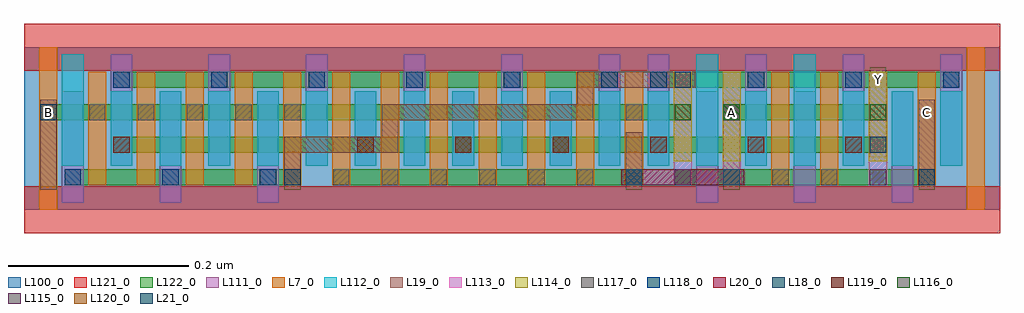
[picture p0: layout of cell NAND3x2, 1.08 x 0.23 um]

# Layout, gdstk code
import gdstk
lib = gdstk.Library(unit=1e-6, precision=2.5e-10)
def R(c, l, rs):  # rectangles x0, y0, x1, y1
    for r in rs: c.add(gdstk.rectangle(r[:2], r[2:], *l))
def A(c, l, x, y, w, h, nx, ny, dx, dy):  # array of equal rectangles
    R(c, l, [(x+i*dx, y+j*dy, x+i*dx+w, y+j*dy+h) for i in range(nx) for j in range(ny)])
def P(c, l, *ps):  # polygons
    for p in ps: c.add(gdstk.Polygon(p, *l))
L7_0 = (7, 0)
L18_0 = (18, 0)
L19_0 = (19, 0)
L20_0 = (20, 0)
L21_0 = (21, 0)
L100_0 = (100, 0)
L111_0 = (111, 0)
L112_0 = (112, 0)
L113_0 = (113, 0)
L114_0 = (114, 0)
L115_0 = (115, 0)
L116_0 = (116, 0)
L117_0 = (117, 0)
L118_0 = (118, 0)
L119_0 = (119, 0)
L120_0 = (120, 0)
L121_0 = (121, 0)
L122_0 = (122, 0)

nand3x2 = lib.new_cell('NAND3x2')
A(nand3x2, L7_0, 0.071, 0.027, 0.02, 0.126, 12, 1, 0.054, 0)
R(nand3x2, L7_0, [(0.017,0,0.037,0.18), (1.043,0,1.063,0.18), (0.827,0.027,0.847,0.153), (0.881,0.027,0.901,0.153), (0.989,0.027,1.009,0.153)])
R(nand3x2, L18_0, [(0.288,0.027,0.306,0.045), (0.666,0.027,0.684,0.045), (0.99,0.027,1.008,0.045), (0.936,0.063,0.954,0.081), (0.018,0.099,0.036,0.117), (0.774,0.099,0.792,0.117), (0.72,0.135,0.738,0.153)])
R(nand3x2, L19_0, [(0.018,0.022,0.036,0.122), (0.666,0.022,0.684,0.086), (0.774,0.022,0.792,0.122), (0.99,0.022,1.008,0.122), (0.936,0.058,0.954,0.158)])
P(nand3x2, L19_0, [(0.612,0.153),(0.743,0.153),(0.743,0.135),(0.63,0.135),(0.63,0.099),(0.414,0.099),(0.414,0.063),(0.306,0.063),(0.306,0.022),(0.288,0.022),(0.288,0.081),(0.396,0.081),(0.396,0.117),(0.612,0.117)])
R(nand3x2, L20_0, [(0.661,0.027,0.797,0.045)])
R(nand3x2, L21_0, [(0.666,0.027,0.684,0.045), (0.774,0.027,0.792,0.045)])
R(nand3x2, L100_0, [(0,0,1.08,0.18)])
A(nand3x2, L111_0, 0.042, 0.008, 0.024, 0.123, 3, 1, 0.108, 0)
A(nand3x2, L111_0, 0.744, 0.008, 0.024, 0.123, 3, 1, 0.108, 0)
A(nand3x2, L111_0, 0.096, 0.049, 0.024, 0.123, 6, 1, 0.108, 0)
A(nand3x2, L111_0, 0.366, 0.049, 0.024, 0.082, 3, 1, 0.108, 0)
A(nand3x2, L111_0, 0.69, 0.049, 0.024, 0.123, 4, 1, 0.108, 0)
A(nand3x2, L112_0, 0.096, 0.049, 0.024, 0.082, 12, 1, 0.054, 0)
A(nand3x2, L112_0, 0.906, 0.049, 0.024, 0.082, 3, 1, 0.054, 0)
R(nand3x2, L112_0, [(0.042,0.049,0.066,0.172), (0.744,0.049,0.768,0.172), (0.798,0.049,0.822,0.131), (0.852,0.049,0.876,0.172)])
R(nand3x2, L113_0, [(0.719,0.027,0.739,0.153), (0.773,0.027,0.793,0.153), (0.935,0.027,0.955,0.153)])
R(nand3x2, L114_0, [(0.719,0.054,0.739,0.153), (0.773,0.054,0.793,0.153), (0.935,0.054,0.955,0.153)])
R(nand3x2, L115_0, [(0.72,0.027,0.738,0.045), (0.774,0.027,0.792,0.045), (0.936,0.027,0.954,0.045)])
R(nand3x2, L116_0, [(0.72,0.099,0.738,0.117), (0.774,0.099,0.792,0.117), (0.936,0.099,0.954,0.117)])
A(nand3x2, L117_0, 0.342, 0.027, 0.018, 0.018, 6, 1, 0.054, 0)
A(nand3x2, L117_0, 0.072, 0.099, 0.018, 0.018, 5, 1, 0.054, 0)
R(nand3x2, L117_0, [(0.828,0.027,0.846,0.045), (0.882,0.027,0.9,0.045), (0.99,0.027,1.008,0.045), (0.666,0.099,0.684,0.117)])
A(nand3x2, L118_0, 0.045, 0.027, 0.018, 0.018, 3, 1, 0.108, 0)
A(nand3x2, L118_0, 0.099, 0.135, 0.018, 0.018, 6, 1, 0.108, 0)
A(nand3x2, L118_0, 0.693, 0.135, 0.018, 0.018, 4, 1, 0.108, 0)
A(nand3x2, L119_0, 0.369, 0.063, 0.018, 0.018, 6, 1, 0.108, 0)
R(nand3x2, L119_0, [(0.099,0.063,0.117,0.081)])
A(nand3x2, L120_0, 0.369, 0.063, 0.018, 0.018, 3, 1, 0.108, 0)
R(nand3x2, L121_0, [(0,-0.026,1.08,0.026), (0,0.154,1.08,0.206)])
R(nand3x2, L122_0, [(0.045,0.027,0.306,0.045), (0.342,0.027,0.684,0.045), (0.72,0.027,1.008,0.045), (0.099,0.063,0.954,0.081), (0.018,0.099,0.738,0.117), (0.774,0.099,0.954,0.117), (0.099,0.135,0.657,0.153), (0.693,0.135,1.035,0.153)])
nand3x2.add(gdstk.Label('Y', (0.945,0.144), layer=19, texttype=251))
nand3x2.add(gdstk.Label('C', (0.999,0.108), layer=19, texttype=251))
nand3x2.add(gdstk.Label('B', (0.027,0.108), layer=19, texttype=251))
nand3x2.add(gdstk.Label('A', (0.783,0.108), layer=19, texttype=251))

lib.write_gds('NAND3x2.gds')
